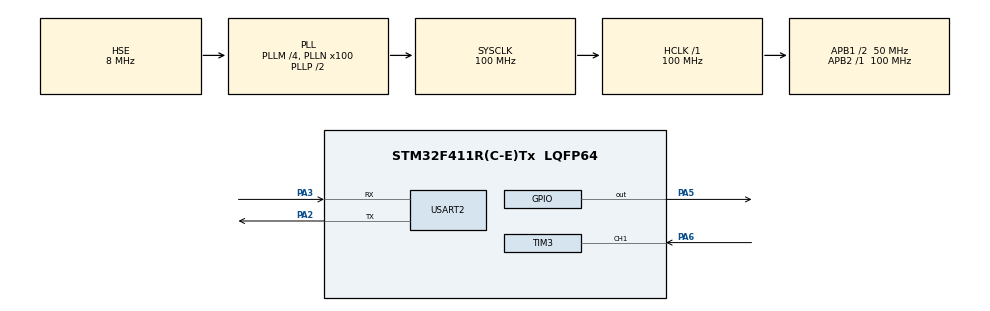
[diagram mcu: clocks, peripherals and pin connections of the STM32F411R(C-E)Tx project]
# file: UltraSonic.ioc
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Mcu.Family=STM32F4
Mcu.Name=STM32F411R(C-E)Tx
Mcu.Package=LQFP64
NVIC.PriorityGroup=NVIC_PRIORITYGROUP_4
NVIC.TIM1_TRG_COM_TIM11_IRQn=true\:0\:0\:false\:false\:true\:true\:true\:true
NVIC.TIM3_IRQn=true\:0\:0\:false\:false\:true\:true\:true\:true
NVIC.USART2_IRQn=true\:0\:0\:false\:false\:true\:true\:true\:true
PA13.Mode=Serial_Wire
PA13.Signal=SYS_JTMS-SWDIO
PA14.Mode=Serial_Wire
PA14.Signal=SYS_JTCK-SWCLK
PA2.Mode=Asynchronous
PA2.Signal=USART2_TX
PA3.Mode=Asynchronous
PA3.Signal=USART2_RX
PA5.GPIO_Speed=GPIO_SPEED_FREQ_VERY_HIGH
PA5.Signal=GPIO_Output
PA6.Signal=S_TIM3_CH1
PH0\ -\ OSC_IN.Mode=HSE-External-Oscillator
PH0\ -\ OSC_IN.Signal=RCC_OSC_IN
PH1\ -\ OSC_OUT.Mode=HSE-External-Oscillator
PH1\ -\ OSC_OUT.Signal=RCC_OSC_OUT
ProjectManager.HeapSize=0x200
ProjectManager.StackSize=0x400
ProjectManager.TargetToolchain=STM32CubeIDE
RCC.48MHZClocksFreq_Value=50000000
RCC.AHBFreq_Value=100000000
RCC.APB1CLKDivider=RCC_HCLK_DIV2
RCC.APB1Freq_Value=50000000
RCC.APB1TimFreq_Value=100000000
RCC.APB2Freq_Value=100000000
RCC.APB2TimFreq_Value=100000000
RCC.CortexFreq_Value=100000000
RCC.HCLKFreq_Value=100000000
RCC.HSE_VALUE=8000000
RCC.HSI_VALUE=16000000
RCC.LSE_VALUE=32768
RCC.PLLM=4
RCC.PLLN=100
RCC.PLLSourceVirtual=RCC_PLLSOURCE_HSE
RCC.SYSCLKFreq_VALUE=100000000
RCC.SYSCLKSource=RCC_SYSCLKSOURCE_PLLCLK
RCC.VCOOutputFreq_Value=200000000
SH.S_TIM3_CH1.0=TIM3_CH1,Input_Capture1_from_TI1
TIM11.Prescaler=100-1
TIM3.Channel-Input_Capture1_from_TI1=TIM_CHANNEL_1
TIM3.Prescaler=100-1
USART2.VirtualMode=VM_ASYNC
VP_TIM11_VS_ClockSourceINT.Mode=Enable_Timer
VP_TIM3_VS_ClockSourceINT.Mode=Internal
board=custom

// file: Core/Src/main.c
/* USER CODE BEGIN Header */
/**
  ******************************************************************************
  * @file           : main.c
  * @brief          : Main program body
  ******************************************************************************
  * @attention
  *
  * Copyright (c) 2024 STMicroelectronics.
  * All rights reserved.
  *
  * This software is licensed under terms that can be found in the LICENSE file
  * in the root directory of this software component.
  * If no LICENSE file comes with this software, it is provided AS-IS.
  *
  ******************************************************************************
  */
/* USER CODE END Header */
#include "main.h"
#include "tim.h"
#include "usart.h"
#include "gpio.h"

/* USER CODE BEGIN Includes */
#include <stdio.h>
#include "delay.h"
/* USER CODE END Includes */

/* USER CODE BEGIN PD */

#define TRIG_PORT 	GPIOA
#define TRIG_PIN	GPIO_PIN_5

/* USER CODE END PD */

/* USER CODE BEGIN PV */

uint16_t IC_VALUE1 	= 0;	//rising edge
uint16_t IC_VALUE2 	= 0;	//falling edge
uint16_t echoTime 	= 0;	//falling time - rising time
uint8_t captureFlag = 0;	//capture ?
uint8_t distance 	= 0;

/* USER CODE END PV */

void SystemClock_Config(void);
/* USER CODE BEGIN PFP */

void HAL_TIM_IC_CaptureCallback(TIM_HandleTypeDef *htim)
{
	if(htim ->Channel == HAL_TIM_ACTIVE_CHANNEL_1)
	{
		if(captureFlag == 0)
		{
			IC_VALUE1 = HAL_TIM_ReadCapturedValue(&htim3, TIM_CHANNEL_1);
			captureFlag = 1;
			__HAL_TIM_SET_CAPTUREPOLARITY(&htim3, TIM_CHANNEL_1, TIM_INPUTCHANNELPOLARITY_FALLING);
		}
		else if(captureFlag == 1)
		{
			IC_VALUE2 = HAL_TIM_ReadCapturedValue(&htim3, TIM_CHANNEL_1);
			__HAL_TIM_SetCounter(&htim3, 0);

			if(IC_VALUE2 > IC_VALUE1)
			{
				echoTime = IC_VALUE2 - IC_VALUE1;
			}
			else if(IC_VALUE1 > IC_VALUE2)
			{
				echoTime = (0xffff - IC_VALUE1) + IC_VALUE2;
			}
			distance = echoTime/58;
			captureFlag = 0;
			__HAL_TIM_SET_CAPTUREPOLARITY(&htim3, TIM_CHANNEL_1, TIM_INPUTCHANNELPOLARITY_RISING);
			__HAL_TIM_DISABLE_IT(&htim3, TIM_IT_CC1);
		}
	}
}

void HCSR04_read()	// trig func
{
	HAL_GPIO_WritePin(TRIG_PORT, TRIG_PIN, 1);
	delay_us(10);
	HAL_GPIO_WritePin(TRIG_PORT, TRIG_PIN, 0);

	__HAL_TIM_ENABLE_IT(&htim3, TIM_IT_CC1);
}
/* USER CODE END PFP */

/* USER CODE BEGIN 0 */
#ifdef __GNUC__
  /* With GCC, small printf (option LD Linker->Libraries->Small printf
     set to 'Yes') calls __io_putchar() */
  #define PUTCHAR_PROTOTYPE int __io_putchar(int ch)
#else
  #define PUTCHAR_PROTOTYPE int fputc(int ch, FILE *f)
#endif /* __GNUC__ */
PUTCHAR_PROTOTYPE
{
  /* Place your implementation of fputc here */
  /* e.g. write a character to the EVAL_COM1 and Loop until the end of transmission */
  HAL_UART_Transmit(&huart2, (uint8_t *)&ch, 1, 0xFF);

  return ch;
}
/* USER CODE END 0 */

int main(void)
{

  /* MCU Configuration--------------------------------------------------------*/

  /* Reset of all peripherals, Initializes the Flash interface and the Systick. */
  HAL_Init();

  /* Configure the system clock */
  SystemClock_Config();

  /* Initialize all configured peripherals */
  MX_GPIO_Init();
  MX_TIM3_Init();
  MX_TIM11_Init();
  MX_USART2_UART_Init();
  /* USER CODE BEGIN 2 */

  HAL_TIM_Base_Start(&htim11);	//for delay func
  HAL_TIM_IC_Start_IT(&htim3, TIM_CHANNEL_1);	//for ultrasinic

  /* USER CODE END 2 */

  /* Infinite loop */
  /* USER CODE BEGIN WHILE */
  while (1)
  {
	  HCSR04_read();
	  printf("Distance: %3dcm\r\n", distance);
	  HAL_Delay(500);
    /* USER CODE END WHILE */

  }
}

void SystemClock_Config(void)
{
  RCC_OscInitTypeDef RCC_OscInitStruct = {0};
  RCC_ClkInitTypeDef RCC_ClkInitStruct = {0};

  /** Configure the main internal regulator output voltage
  */
  __HAL_RCC_PWR_CLK_ENABLE();
  __HAL_PWR_VOLTAGESCALING_CONFIG(PWR_REGULATOR_VOLTAGE_SCALE1);

  /** Initializes the RCC Oscillators according to the specified parameters
  * in the RCC_OscInitTypeDef structure.
  */
  RCC_OscInitStruct.OscillatorType = RCC_OSCILLATORTYPE_HSE;
  RCC_OscInitStruct.HSEState = RCC_HSE_ON;
  RCC_OscInitStruct.PLL.PLLState = RCC_PLL_ON;
  RCC_OscInitStruct.PLL.PLLSource = RCC_PLLSOURCE_HSE;
  RCC_OscInitStruct.PLL.PLLM = 4;
  RCC_OscInitStruct.PLL.PLLN = 100;
  RCC_OscInitStruct.PLL.PLLP = RCC_PLLP_DIV2;
  RCC_OscInitStruct.PLL.PLLQ = 4;
  if (HAL_RCC_OscConfig(&RCC_OscInitStruct) != HAL_OK)
  {
    Error_Handler();
  }

  /** Initializes the CPU, AHB and APB buses clocks
  */
  RCC_ClkInitStruct.ClockType = RCC_CLOCKTYPE_HCLK|RCC_CLOCKTYPE_SYSCLK
                              |RCC_CLOCKTYPE_PCLK1|RCC_CLOCKTYPE_PCLK2;
  RCC_ClkInitStruct.SYSCLKSource = RCC_SYSCLKSOURCE_PLLCLK;
  RCC_ClkInitStruct.AHBCLKDivider = RCC_SYSCLK_DIV1;
  RCC_ClkInitStruct.APB1CLKDivider = RCC_HCLK_DIV2;
  RCC_ClkInitStruct.APB2CLKDivider = RCC_HCLK_DIV1;

  if (HAL_RCC_ClockConfig(&RCC_ClkInitStruct, FLASH_LATENCY_3) != HAL_OK)
  {
    Error_Handler();
  }
}

void Error_Handler(void)
{
  __disable_irq();
  while (1)
  {
  }
}
